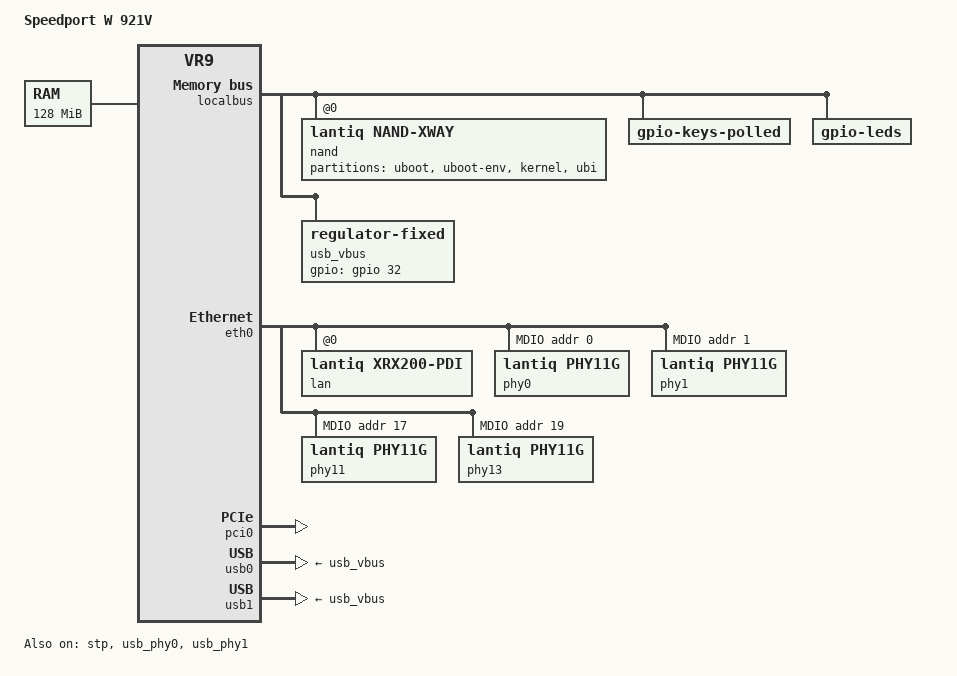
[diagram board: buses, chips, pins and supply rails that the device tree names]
/dts-v1/;

#include "vr9.dtsi"

#include <dt-bindings/input/input.h>
#include <dt-bindings/mips/lantiq_rcu_gphy.h>

/ {
	compatible = "arcadyan,vgv953", "lantiq,xway", "lantiq,vr9";
	model = "Speedport W 921V";

	chosen {
/*		bootargs = "console=ttyLTQ0,115200 mem=62M vpe1_load_addr=0x83e00000 vpe1_mem=2M maxvpes=1 maxtcs=1 nosmp";*/
		bootargs = "console=ttyLTQ0,115200";
	};

	aliases {
		led-boot = &power_green;
		led-failsafe = &power_red;
		led-running = &power_green;
		led-dsl = &dsl;
		led-internet = &internet;
	};

	memory@0 {
		reg = <0x0 0x8000000>;
	};
/*	sram@1F000000 {*/
/*		vmmc@107000 {*/
/*		status = "okay";*/
/*		gpios = <&gpio 31 GPIO_ACTIVE_LOW>;*/
/*		};*/
/*	};*/
};
&localbus {
	nand@0 {
		compatible = "lantiq,nand-xway";
		lantiq,cs = <1>;
		bank-width = <2>;
		reg = <0 0x0 0x2000000>;
		#address-cells = <1>;
		#size-cells = <1>;
		partitions {
			compatible = "fixed-partitions";
			#address-cells = <1>;
			#size-cells = <1>;
			partition@0 {
				label = "uboot";
				reg = <0x00000 0x40000>;
			};
			partition@40000 {
				label = "uboot-env";
				reg = <0x40000 0x20000>;
			};
			partition@60000 {
				label = "kernel";
				reg = <0x60000 0x200000>;
			};
			partition@260000 {
				label = "ubi";
				reg = <0x260000 0x1da0000>;
			};
		};
	};
  
	gpio-keys-polled {
		compatible = "gpio-keys-polled";
		#address-cells = <1>;
		#size-cells = <0>;
		poll-interval = <100>;
		reset {
			label = "reset";
			gpios = <&gpio 20 GPIO_ACTIVE_LOW>;
			linux,code = <KEY_RESTART>;
		};
		wps {
			label = "wps";
			gpios = <&gpio 37 GPIO_ACTIVE_LOW>;
			linux,code = <KEY_WPS_BUTTON>;
		};
		wifi {
			label = "wifi";
			gpios = <&gpio 29 GPIO_ACTIVE_LOW>;
			linux,code = <KEY_RFKILL>;
		};
		dect_paging {
			label = "dect_paging";
			gpios = <&gpio 40 GPIO_ACTIVE_LOW>;
			linux,code = <KEY_PHONE>;
		};
		dect_pairing {
			label = "dect";
			gpios = <&gpio 41 GPIO_ACTIVE_LOW>;
			linux,code = <BTN_0>;
		};
	};

	gpio-leds {
		compatible = "gpio-leds";
		waiting {
			label = "vgv953:white:waiting";
			gpios = <&stp 16 GPIO_ACTIVE_LOW>;
		};
		service {
			label = "vgv953:white:sevice";
			gpios = <&stp 17 GPIO_ACTIVE_LOW>;
		};
		phone {
			label = "vgv953:white:phone";
			gpios = <&stp 18 GPIO_ACTIVE_LOW>;
		};
		wlan {
			label = "vgv953:white:wlan";
			gpios = <&stp 19 GPIO_ACTIVE_LOW>;
		};
		internet: internet {
			label = "vgv953:white:internet";
			gpios = <&stp 20 GPIO_ACTIVE_LOW>;
		};
		dsl: dsl {
			label = "vgv953:white:dsl";
			gpios = <&stp 21 GPIO_ACTIVE_LOW>;
		};
		power_red: power {
			label = "vgv953:red:power";
			gpios = <&stp 22 GPIO_ACTIVE_LOW>;
		};
		power_green: power2 {
			label = "vgv953:white:power";
			gpios = <&stp 23 GPIO_ACTIVE_LOW>;
			default-state = "keep";
		};
	};

	usb_vbus: regulator-usb-vbus {
		compatible = "regulator-fixed";

		regulator-name = "USB_VBUS";

		regulator-min-microvolt = <5000000>;
		regulator-max-microvolt = <5000000>;

		gpio = <&gpio 32 GPIO_ACTIVE_HIGH>;
		enable-active-high;
	};
};

&eth0 {
	lan: interface@0 {
		compatible = "lantiq,xrx200-pdi";
		#address-cells = <1>;
		#size-cells = <0>;
		reg = <0>;
		mac-address = [ 00 11 22 33 44 55 ];
		lantiq,switch;

		ethernet@0 {
			compatible = "lantiq,xrx200-pdi-port";
			reg = <0>;
			phy-mode = "rgmii";
			phy-handle = <&phy0>;
		};
		ethernet@1 {
			compatible = "lantiq,xrx200-pdi-port";
			reg = <1>;
			phy-mode = "rgmii";
			phy-handle = <&phy1>;
		};
		ethernet@2 {
			compatible = "lantiq,xrx200-pdi-port";
			reg = <2>;
			phy-mode = "gmii";
			phy-handle = <&phy11>;
		};
		ethernet@4 {
			compatible = "lantiq,xrx200-pdi-port";
			reg = <4>;
			phy-mode = "gmii";
			phy-handle = <&phy13>;
		};
	};

	mdio@0 {
		#address-cells = <1>;
		#size-cells = <0>;
		compatible = "lantiq,xrx200-mdio";
		reg = <0>;

		phy0: ethernet-phy@0 {
			reg = <0x0>;
			compatible = "lantiq,phy11g", "ethernet-phy-ieee802.3-c22";
		};
		phy1: ethernet-phy@1 {
			reg = <0x1>;
			compatible = "lantiq,phy11g", "ethernet-phy-ieee802.3-c22";
		};
		phy11: ethernet-phy@11 {
			reg = <0x11>;
			compatible = "lantiq,phy11g", "ethernet-phy-ieee802.3-c22";
		};
		phy13: ethernet-phy@13 {
			reg = <0x13>;
			compatible = "lantiq,phy11g", "ethernet-phy-ieee802.3-c22";
		};
	};
};

&gphy0 {
	lantiq,gphy-mode = <GPHY_MODE_GE>;
};

&gphy1 {
	lantiq,gphy-mode = <GPHY_MODE_GE>;
};

&gpio {
	pinctrl-names = "default";
	pinctrl-0 = <&state_default>;

	state_default: pinmux {
		exin3 {
			lantiq,groups = "exin3";
			lantiq,function = "exin";
		};
		mdio {
			lantiq,groups = "mdio";
			lantiq,function = "mdio";
		};
		gphy-leds {
			lantiq,groups = "gphy0 led1", "gphy1 led1",
					"gphy0 led2", "gphy1 led2";
			lantiq,function = "gphy";
			lantiq,pull = <2>;
			lantiq,open-drain = <0>;
			lantiq,output = <1>;
		};
		stp {
			lantiq,groups = "stp";
			lantiq,function = "stp";
			lantiq,pull = <2>;
			lantiq,open-drain = <0>;
			lantiq,output = <1>;
		};
		pci-in {
			lantiq,groups = "req1";
			lantiq,function = "pci";
			lantiq,output = <0>;
			lantiq,open-drain = <1>;
			lantiq,pull = <2>;
		};
		pci-out {
			lantiq,groups = "gnt1";
			lantiq,function = "pci";
			lantiq,output = <1>;
			lantiq,open-drain = <0>;
			lantiq,pull = <0>;
		};

		pci_rst {
			lantiq,pins = "io21";
			lantiq,output = <1>;
			lantiq,open-drain = <0>;
			lantiq,pull = <2>;
		};
		pcie-rst {
			lantiq,pins = "io38";
			lantiq,pull = <0>;
			lantiq,output = <1>;
		};
		ifxhcd-rst {
			lantiq,pins = "io33";
			lantiq,pull = <0>;
			lantiq,open-drain = <0>;
			lantiq,output = <1>;
		};
		nand_out {
			lantiq,groups = "nand cle", "nand ale";
			lantiq,function = "ebu";
			lantiq,output = <1>;
			lantiq,open-drain = <0>;
			lantiq,pull = <0>;
		};
		nand_cs1 {
			lantiq,groups = "nand cs1";
			lantiq,function = "ebu";
			lantiq,open-drain = <0>;
			lantiq,pull = <0>;
		};
	};
};
&stp {
	status = "okay";
	lantiq,shadow = <0xffffff>;
	lantiq,groups = <0x7>;
	lantiq,dsl = <0x0>;
	lantiq,phy1 = <0x0>;
	lantiq,phy2 = <0x0>;
};
&pci0 {
	status = "okay";
	gpio-reset = <&gpio 21 GPIO_ACTIVE_HIGH>;
};

&pcie0 {
	status = "disabled";
};
&usb_phy0 {
	status = "okay";
};

&usb_phy1 {
	status = "okay";
};

&usb0 {
	status = "okay";
	vbus-supply = <&usb_vbus>;
};

&usb1 {
	status = "okay";
	vbus-supply = <&usb_vbus>;
};
